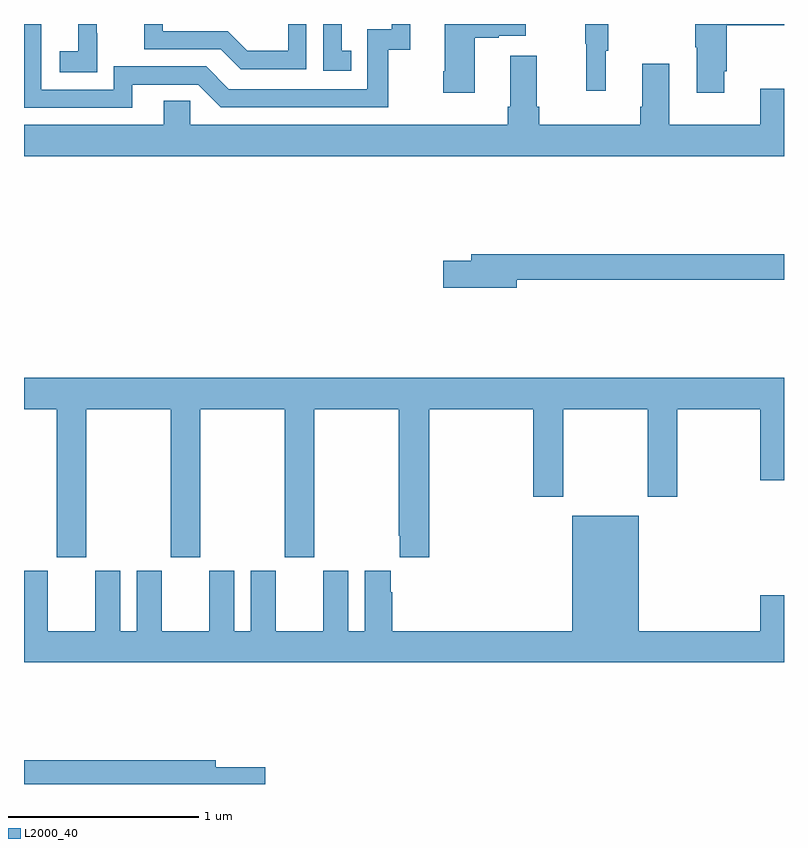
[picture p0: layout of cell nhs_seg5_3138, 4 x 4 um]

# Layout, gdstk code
import gdstk
lib = gdstk.Library(unit=1e-6, precision=1e-09)
def P(c, l, *ps):  # polygons
    for p in ps: c.add(gdstk.Polygon(p, *l))
L2000_40 = (2000, 40)

nhs_seg5_3138 = lib.new_cell('nhs_seg5_3138')
P(nhs_seg5_3138, L2000_40, [(293.569,846.48),(293.916,846.48),(294.036,846.36),(294.916,846.36),(294.916,846.663),(295.034,846.663),(295.034,846.799),(294.936,846.799),(294.936,846.771),(294.807,846.771),(294.807,846.456),(294.078,846.456),(293.958,846.576),(293.472,846.576),(293.472,846.453),(293.091,846.453),(293.091,846.799),(293,846.799),(293,846.357),(293.569,846.357)],
  [(296.063,846.659),(296.074,846.659),(296.074,846.799),(295.953,846.799),(295.953,846.696),(295.96,846.696),(295.96,846.447),(296.063,846.447)],
  [(293.385,846.751),(293.384,846.751),(293.384,846.799),(293.285,846.799),(293.285,846.655),(293.187,846.655),(293.187,846.545),(293.385,846.545)],
  [(294.486,846.799),(294.39,846.799),(294.39,846.658),(294.176,846.658),(294.072,846.762),(293.73,846.762),(293.73,846.799),(293.632,846.799),(293.632,846.666),(294.035,846.666),(294.14,846.561),(294.486,846.561)],
  [(295.372,846.727),(295.499,846.727),(295.499,846.737),(295.642,846.737),(295.642,846.799),(295.214,846.799),(295.214,846.55),(295.207,846.55),(295.207,846.438),(295.372,846.438)],
  [(296.686,846.55),(296.699,846.55),(296.699,846.792),(297,846.792),(297,846.799),(296.533,846.799),(296.533,846.676),(296.54,846.676),(296.54,846.438),(296.686,846.438)],
  [(294.722,846.657),(294.673,846.657),(294.673,846.799),(294.576,846.799),(294.576,846.552),(294.722,846.552)],
  [(297,846.457),(296.876,846.457),(296.876,846.268),(296.395,846.268),(296.395,846.589),(296.255,846.589),(296.255,846.364),(296.243,846.364),(296.243,846.268),(295.712,846.268),(295.712,846.364),(295.699,846.364),(295.699,846.631),(295.559,846.631),(295.559,846.364),(295.547,846.364),(295.547,846.268),(293.874,846.268),(293.874,846.395),(293.735,846.395),(293.735,846.268),(293,846.268),(293,846.104),(297,846.104)],
  [(295.594,845.452),(297,845.452),(297,845.588),(295.355,845.588),(295.355,845.552),(295.206,845.552),(295.206,845.41),(295.594,845.41)],
  [(293.328,844.772),(293.773,844.772),(293.773,843.993),(293.928,843.993),(293.928,844.772),(294.373,844.772),(294.373,843.993),(294.528,843.993),(294.528,844.772),(294.973,844.772),(294.973,844.105),(294.977,844.105),(294.977,843.993),(295.133,843.993),(295.133,844.772),(295.679,844.772),(295.679,844.311),(295.839,844.311),(295.839,844.772),(296.284,844.772),(296.284,844.311),(296.439,844.311),(296.439,844.772),(296.876,844.772),(296.876,844.398),(297,844.398),(297,844.936),(293,844.936),(293,844.772),(293.173,844.772),(293.173,843.993),(293.328,843.993)],
  [(297,843.793),(296.876,843.793),(296.876,843.604),(296.236,843.604),(296.236,844.21),(295.886,844.21),(295.886,843.604),(294.938,843.604),(294.938,843.809),(294.931,843.809),(294.931,843.922),(294.794,843.922),(294.794,843.604),(294.706,843.604),(294.706,843.922),(294.575,843.922),(294.575,843.604),(294.325,843.604),(294.325,843.922),(294.194,843.922),(294.194,843.604),(294.106,843.604),(294.106,843.922),(293.975,843.922),(293.975,843.604),(293.725,843.604),(293.725,843.922),(293.594,843.922),(293.594,843.604),(293.506,843.604),(293.506,843.922),(293.375,843.922),(293.375,843.604),(293.125,843.604),(293.125,843.922),(293,843.922),(293,843.44),(297,843.44)],
  [(294.271,842.888),(294.01,842.888),(294.01,842.924),(293,842.924),(293,842.799),(294.271,842.799)])

lib.write_gds('nhs_seg5_3138.gds')
